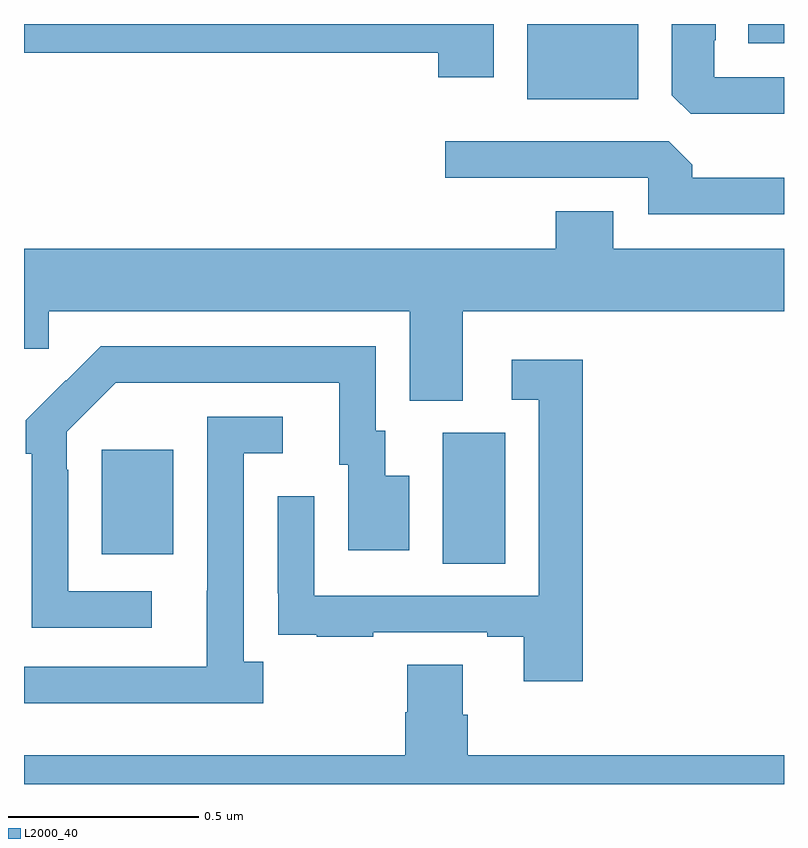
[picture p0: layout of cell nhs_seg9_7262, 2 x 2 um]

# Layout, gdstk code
import gdstk
lib = gdstk.Library(unit=1e-6, precision=1e-09)
def R(c, l, rs):  # rectangles x0, y0, x1, y1
    for r in rs: c.add(gdstk.rectangle(r[:2], r[2:], *l))
def P(c, l, *ps):  # polygons
    for p in ps: c.add(gdstk.Polygon(p, *l))
L2000_40 = (2000, 40)

nhs_seg9_7262 = lib.new_cell('nhs_seg9_7262')
R(nhs_seg9_7262, L2000_40, [(203.102,1205.08,203.266,1205.424), (202.205,1205.105,202.393,1205.38), (203.324,1206.302,203.617,1206.5), (203.906,1206.449,204,1206.5)])
P(nhs_seg9_7262, L2000_40, [(204,1206.36),(203.817,1206.36),(203.817,1206.457),(203.821,1206.457),(203.821,1206.5),(203.705,1206.5),(203.705,1206.313),(203.754,1206.264),(204,1206.264)],
  [(203.236,1206.5),(202,1206.5),(202,1206.424),(203.09,1206.424),(203.09,1206.36),(203.236,1206.36)],
  [(204,1206.096),(203.759,1206.096),(203.759,1206.13),(203.697,1206.192),(203.109,1206.192),(203.109,1206.096),(203.643,1206.096),(203.643,1206),(204,1206)],
  [(203.155,1205.744),(204,1205.744),(204,1205.908),(203.551,1205.908),(203.551,1206.007),(203.399,1206.007),(203.399,1205.908),(202,1205.908),(202,1205.646),(202.065,1205.646),(202.065,1205.744),(203.015,1205.744),(203.015,1205.509),(203.155,1205.509)],
  [(202.336,1205.007),(202.116,1205.007),(202.116,1205.327),(202.113,1205.327),(202.113,1205.427),(202.242,1205.556),(202.829,1205.556),(202.829,1205.34),(202.853,1205.34),(202.853,1205.115),(203.014,1205.115),(203.014,1205.311),(202.951,1205.311),(202.951,1205.43),(202.926,1205.43),(202.926,1205.652),(202.202,1205.652),(202.111,1205.561),(202.11,1205.562),(202.005,1205.457),(202.005,1205.369),(202.02,1205.369),(202.02,1204.911),(202.336,1204.911)],
  [(203.471,1205.617),(203.283,1205.617),(203.283,1205.511),(203.355,1205.511),(203.355,1204.995),(202.764,1204.995),(202.764,1205.257),(202.668,1205.257),(202.668,1205.002),(202.669,1205.002),(202.669,1204.893),(202.771,1204.893),(202.771,1204.887),(202.919,1204.887),(202.919,1204.899),(203.219,1204.899),(203.219,1204.887),(203.315,1204.887),(203.315,1204.77),(203.471,1204.77)],
  [(202.63,1204.822),(202.578,1204.822),(202.578,1205.37),(202.681,1205.37),(202.681,1205.466),(202.482,1205.466),(202.482,1205.009),(202.481,1205.009),(202.481,1204.809),(202,1204.809),(202,1204.712),(202.63,1204.712)],
  [(204,1204.576),(203.168,1204.576),(203.168,1204.682),(203.155,1204.682),(203.155,1204.814),(203.008,1204.814),(203.008,1204.689),(203.003,1204.689),(203.003,1204.576),(202,1204.576),(202,1204.5),(204,1204.5)])

lib.write_gds('nhs_seg9_7262.gds')
